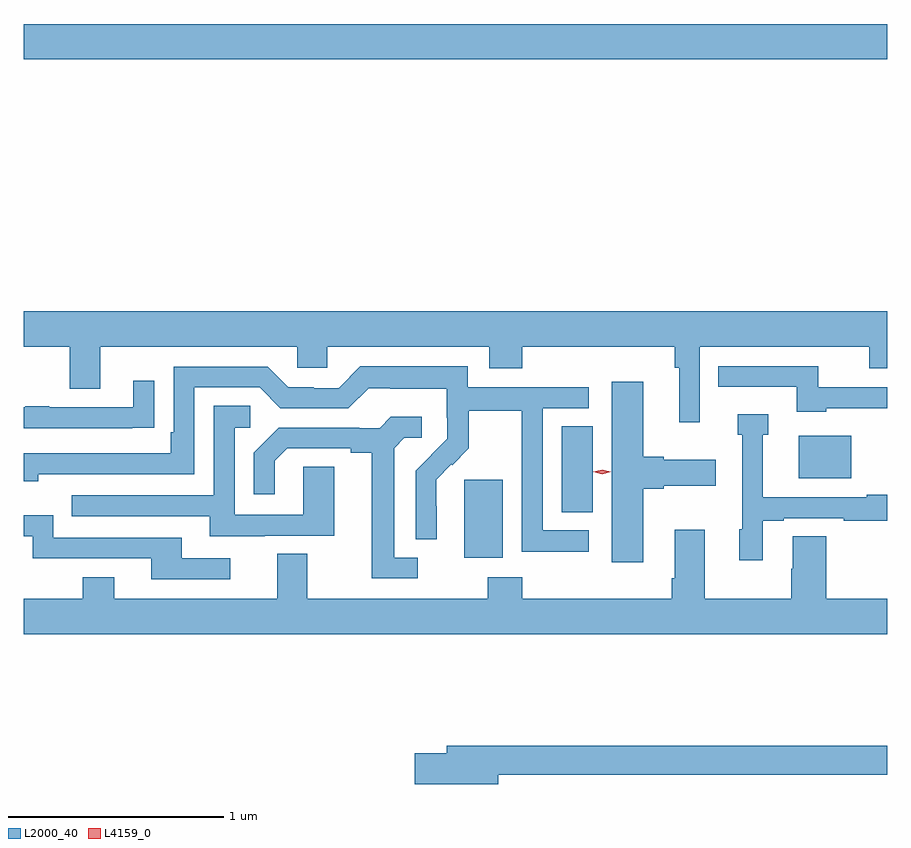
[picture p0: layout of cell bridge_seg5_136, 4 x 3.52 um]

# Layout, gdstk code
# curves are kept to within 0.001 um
import gdstk
lib = gdstk.Library(unit=1e-6, precision=1e-09)
def R(c, l, rs):  # rectangles x0, y0, x1, y1
    for r in rs: c.add(gdstk.rectangle(r[:2], r[2:], *l))
def P(c, l, *ps):  # polygons
    for p in ps: c.add(gdstk.Polygon(p, *l))
L2000_40 = (2000, 40)
L4159_0 = (4159, 0)

bridge_seg5_136 = lib.new_cell('bridge_seg5_136')
R(bridge_seg5_136, L2000_40, [(359.372,865.106,359.551,865.467), (359.825,865.318,359.968,865.715), (360.923,865.475,361.165,865.672), (357.332,867.416,361.332,867.58)])
P(bridge_seg5_136, L2000_40, [(360.465,866.084),(361.25,866.084),(361.25,865.985),(361.332,865.985),(361.332,866.248),(357.332,866.248),(357.332,866.084),(357.545,866.084),(357.545,865.89),(357.685,865.89),(357.685,866.084),(358.599,866.084),(358.599,865.986),(358.737,865.986),(358.737,866.084),(359.489,866.084),(359.489,865.985),(359.642,865.985),(359.642,866.084),(360.349,866.084),(360.349,865.988),(360.368,865.988),(360.368,865.734),(360.465,865.734)],
  [(361.05,865.8),(361.332,865.8),(361.332,865.896),(361.014,865.896),(361.014,865.995),(360.55,865.995),(360.55,865.899),(360.914,865.899),(360.914,865.784),(361.05,865.784)],
  [(359.95,865.233),(359.736,865.233),(359.736,865.8),(359.95,865.8),(359.95,865.896),(359.388,865.896),(359.388,865.993),(358.891,865.993),(358.791,865.893),(358.676,865.893),(358.676,865.896),(358.557,865.896),(358.461,865.992),(358.026,865.992),(358.026,865.687),(358.013,865.687),(358.013,865.59),(357.332,865.59),(357.332,865.46),(357.398,865.46),(357.398,865.494),(358.122,865.494),(358.122,865.896),(358.425,865.896),(358.521,865.8),(358.836,865.8),(358.929,865.893),(359.029,865.893),(359.029,865.889),(359.292,865.889),(359.292,865.755),(359.294,865.755),(359.294,865.658),(359.148,865.51),(359.148,865.192),(359.244,865.192),(359.243,865.469),(359.313,865.539),(359.316,865.536),(359.393,865.613),(359.393,865.788),(359.638,865.788),(359.638,865.564),(359.64,865.564),(359.64,865.135),(359.95,865.135)],
  [(357.833,865.708),(357.935,865.708),(357.935,865.927),(357.839,865.927),(357.839,865.803),(357.449,865.803),(357.449,865.808),(357.337,865.808),(357.337,865.803),(357.332,865.803),(357.332,865.707),(357.833,865.707)],
  [(360.202,865.427),(360.298,865.427),(360.298,865.439),(360.538,865.439),(360.538,865.561),(360.298,865.561),(360.298,865.574),(360.202,865.574),(360.202,865.921),(360.056,865.921),(360.056,865.086),(360.202,865.086)],
  [(358.447,865.209),(358.771,865.209),(358.771,865.529),(358.626,865.529),(358.626,865.305),(358.308,865.305),(358.308,865.71),(358.381,865.71),(358.381,865.811),(358.212,865.811),(358.212,865.395),(357.553,865.395),(357.553,865.299),(358.193,865.299),(358.193,865.205),(358.447,865.205)],
  [(360.757,865.278),(360.853,865.278),(360.853,865.29),(361.132,865.29),(361.132,865.278),(361.332,865.278),(361.332,865.399),(361.238,865.399),(361.238,865.386),(360.757,865.386),(360.757,865.677),(360.781,865.677),(360.781,865.771),(360.641,865.771),(360.641,865.677),(360.66,865.677),(360.66,865.239),(360.647,865.239),(360.647,865.095),(360.757,865.095)],
  [(359.158,865.107),(359.047,865.107),(359.047,865.615),(359.094,865.662),(359.176,865.662),(359.176,865.759),(359.032,865.759),(358.98,865.707),(358.886,865.707),(358.886,865.71),(358.514,865.71),(358.398,865.594),(358.398,865.401),(358.495,865.401),(358.495,865.557),(358.552,865.614),(358.847,865.614),(358.847,865.592),(358.943,865.592),(358.943,865.011),(359.158,865.011)],
  [(358.288,865.104),(358.063,865.104),(358.063,865.2),(357.468,865.2),(357.468,865.303),(357.332,865.303),(357.332,865.206),(357.372,865.206),(357.372,865.104),(357.923,865.104),(357.923,865.008),(358.288,865.008)],
  [(358.505,865.124),(358.505,864.916),(357.751,864.916),(357.751,865.015),(357.604,865.015),(357.604,864.916),(357.332,864.916),(357.332,864.752),(361.332,864.752),(361.332,864.916),(361.049,864.916),(361.049,865.205),(360.896,865.205),(360.896,865.055),(360.889,865.055),(360.889,864.916),(360.487,864.916),(360.487,865.237),(360.347,865.237),(360.347,865.012),(360.335,865.012),(360.335,864.916),(359.642,864.916),(359.642,865.015),(359.482,865.015),(359.482,864.916),(358.645,864.916),(358.645,865.124)],
  [(359.53,864.1),(361.332,864.1),(361.332,864.236),(359.291,864.236),(359.291,864.2),(359.142,864.2),(359.142,864.058),(359.53,864.058)])
P(bridge_seg5_136, L4159_0, [(360.012,865.494),(359.971,865.504),(359.971,865.505),(359.971,865.505),(360.012,865.514),(360.052,865.504),(360.052,865.504),(360.052,865.504)])

lib.write_gds('bridge_seg5_136.gds')
